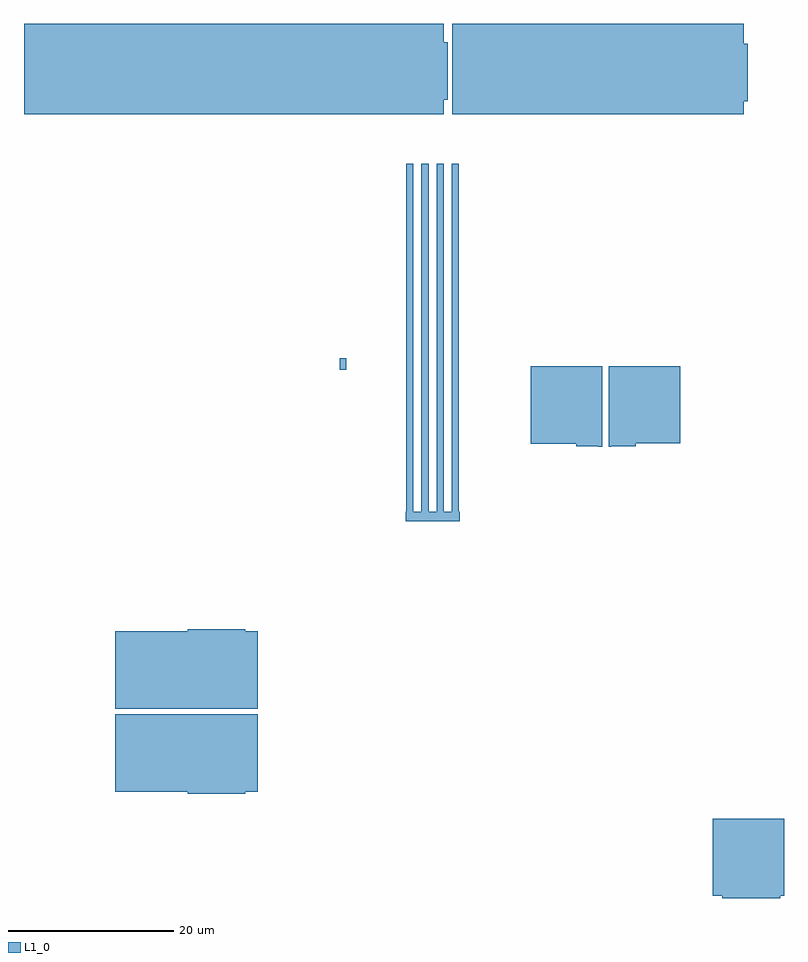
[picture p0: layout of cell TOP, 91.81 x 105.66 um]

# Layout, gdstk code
import gdstk
lib = gdstk.Library(unit=1e-6, precision=1e-09)
def R(c, l, rs):  # rectangles x0, y0, x1, y1
    for r in rs: c.add(gdstk.rectangle(r[:2], r[2:], *l))
def P(c, l, *ps):  # polygons
    for p in ps: c.add(gdstk.Polygon(p, *l))
L1_0 = (1, 0)

top = lib.new_cell('TOP')
R(top, L1_0, [(38.14,63.84,38.95,65.24)])
P(top, L1_0, [(0,94.703),(0,105.656),(50.732,105.656),(50.732,103.431),(51.214,103.431),(51.214,96.462),(50.732,96.462),(50.732,94.703)],
  [(51.75,94.703),(51.75,105.656),(86.941,105.656),(86.941,103.259),(87.423,103.259),(87.423,96.29),(86.941,96.29),(86.941,94.703)],
  [(70.622,54.579),(70.622,64.274),(79.247,64.274),(79.247,54.959),(73.881,54.959),(73.881,54.614),(70.949,54.614),(70.949,54.579)],
  [(84.353,0),(84.353,0.311),(83.18,0.311),(83.18,9.626),(91.805,9.626),(91.805,0.311),(91.322,0.311),(91.322,0)],
  [(11.006,22.874),(11.006,32.24),(19.768,32.24),(19.768,32.499),(26.738,32.499),(26.738,32.24),(28.256,32.24),(28.256,22.874)],
  [(46.108,45.575),(46.108,46.679),(46.178,46.679),(46.178,88.734),(47.04,88.734),(47.04,46.679),(48.006,46.679),(48.006,88.734),(48.868,88.734),(48.868,46.679),(49.834,46.679),(49.834,88.734),(50.697,88.734),(50.697,46.679),(51.663,46.679),(51.663,88.734),(52.526,88.734),(52.526,46.679),(52.629,46.679),(52.629,45.575)],
  [(19.768,12.609),(19.768,12.869),(11.006,12.869),(11.006,22.235),(28.256,22.235),(28.256,12.869),(26.738,12.869),(26.738,12.609)],
  [(69.396,54.579),(69.396,54.614),(66.705,54.614),(66.705,54.906),(61.203,54.906),(61.203,64.274),(69.828,64.274),(69.828,54.579)])

lib.write_gds('TOP.gds')
